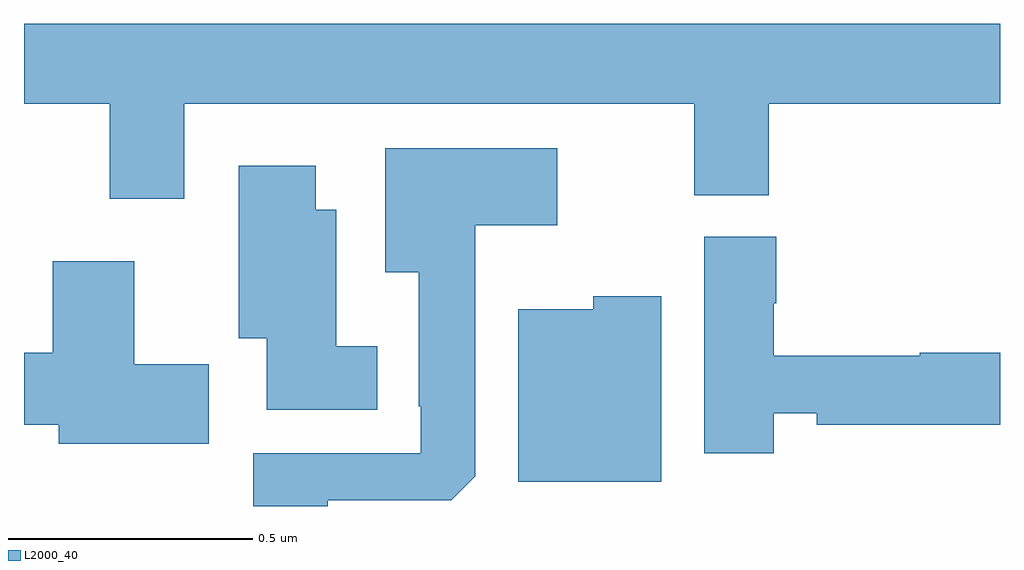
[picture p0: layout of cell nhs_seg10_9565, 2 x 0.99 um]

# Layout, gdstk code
import gdstk
lib = gdstk.Library(unit=1e-6, precision=1e-09)
def P(c, l, *ps):  # polygons
    for p in ps: c.add(gdstk.Polygon(p, *l))
L2000_40 = (2000, 40)

nhs_seg10_9565 = lib.new_cell('nhs_seg10_9565')
P(nhs_seg10_9565, L2000_40, [(231.328,1292.324),(232.373,1292.324),(232.373,1292.137),(232.526,1292.137),(232.526,1292.324),(233,1292.324),(233,1292.488),(231,1292.488),(231,1292.324),(231.176,1292.324),(231.176,1292.13),(231.328,1292.13)],
  [(231.622,1291.512),(231.876,1291.512),(231.925,1291.561),(231.925,1292.075),(232.093,1292.075),(232.093,1292.233),(231.74,1292.233),(231.74,1291.979),(231.809,1291.979),(231.809,1291.705),(231.813,1291.705),(231.813,1291.608),(231.47,1291.608),(231.47,1291.5),(231.622,1291.5)],
  [(231.724,1291.828),(231.64,1291.828),(231.64,1292.107),(231.598,1292.107),(231.598,1292.197),(231.44,1292.197),(231.44,1291.844),(231.497,1291.844),(231.497,1291.697),(231.724,1291.697)],
  [(232.536,1291.69),(232.624,1291.69),(232.624,1291.667),(233,1291.667),(233,1291.814),(232.836,1291.814),(232.836,1291.808),(232.536,1291.808),(232.536,1291.916),(232.541,1291.916),(232.541,1292.052),(232.394,1292.052),(232.394,1291.608),(232.536,1291.608)],
  [(231.379,1291.791),(231.226,1291.791),(231.226,1292.002),(231.059,1292.002),(231.059,1291.814),(231,1291.814),(231,1291.667),(231.071,1291.667),(231.071,1291.628),(231.379,1291.628)],
  [(232.306,1291.93),(232.167,1291.93),(232.167,1291.903),(232.013,1291.903),(232.013,1291.55),(232.306,1291.55)])

lib.write_gds('nhs_seg10_9565.gds')
